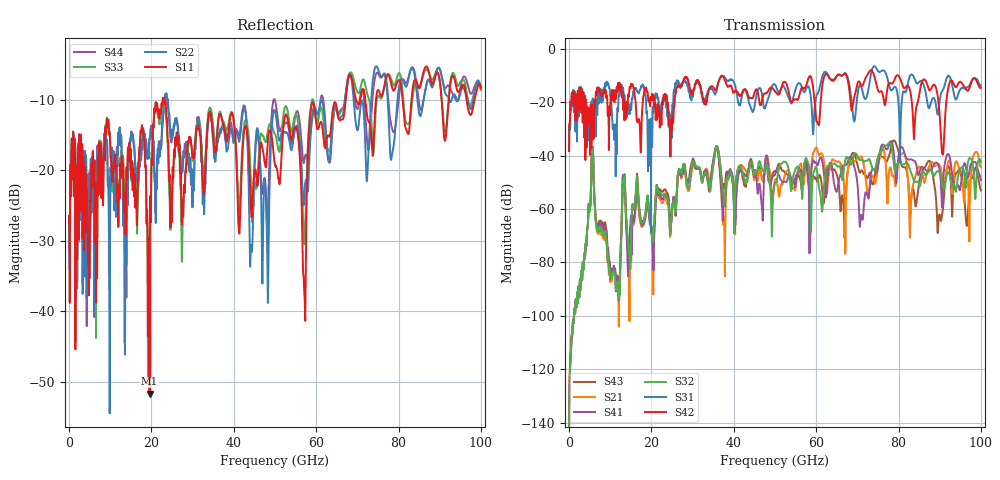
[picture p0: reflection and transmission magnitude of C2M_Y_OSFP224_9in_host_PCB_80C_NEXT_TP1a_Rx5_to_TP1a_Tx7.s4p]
# GHz S RI R 45
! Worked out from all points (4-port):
!   4000 points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, 25 MHz to 100 GHz, reference 45 ohm
!   strongest paths, dB at 25 MHz, 25.02 GHz, 50.02 GHz, 75.03 GHz, 100 GHz:
!     S42: -38.3, -28.8, -16.0, -15.6, -14.6
!     S31: -38.3, -23.3, -13.4, -8.3, -13.8
!     S32: -141.3, -60.0, -50.4, -40.5, -42.5
!     S41: -137.4, -59.6, -45.7, -44.0, -49.2
!     S21: -141.0, -60.0, -49.2, -44.0, -44.3
!     S43: -133.5, -59.4, -47.0, -41.1, -53.0
!   lowest |S11| = -51.7 dB at 19.55 GHz (marker M1), VSWR 1.01, Z = 44.8 - j0.0931 ohm
!   |S11| at or under -10 dB: start of sweep to 22.73 GHz; 23.2 GHz to 67.17 GHz (43.97 GHz wide, 97.3 % of centre); 71.95 GHz to 74.51 GHz (2.568 GHz wide, 3.51 % of centre)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
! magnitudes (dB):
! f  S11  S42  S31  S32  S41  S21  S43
! 25 MHz  -27.4  -38.3  -38.3  -141.3  -137.4  -141.0  -133.5
! 5.725 GHz  -18.0  -31.4  -19.1  -38.1  -38.0  -38.2  -38.0
! 10.05 GHz  -17.0  -19.3  -17.6  -86.3  -84.1  -87.4  -83.1
! 19.55 GHz  -51.7  -20.0  -33.0  -62.0  -64.6  -64.0  -62.4
! 35.8 GHz  -16.1  -15.0  -16.0  -36.6  -36.5  -36.8  -36.4
! 37.7 GHz  -14.0  -11.2  -10.4  -58.8  -58.2  -65.2  -51.9
! 100 GHz  -8.3  -14.6  -13.8  -42.5  -49.2  -44.3  -53.0
